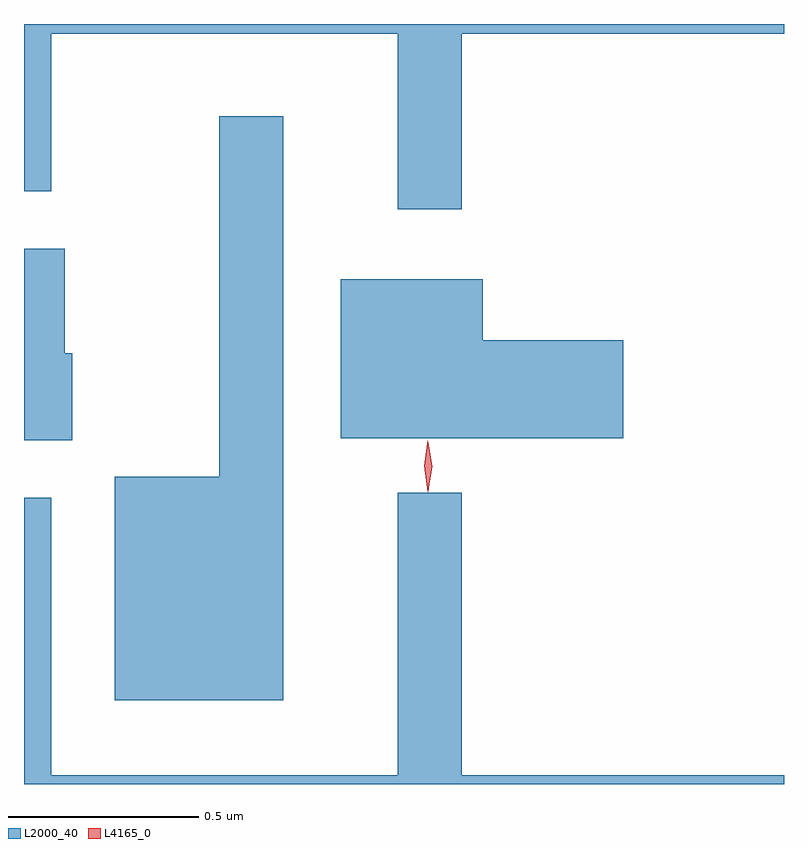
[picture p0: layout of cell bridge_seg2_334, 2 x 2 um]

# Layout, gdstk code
import gdstk
lib = gdstk.Library(unit=1e-6, precision=1e-09)
def P(c, l, *ps):  # polygons
    for p in ps: c.add(gdstk.Polygon(p, *l))
L2000_40 = (2000, 40)
L4165_0 = (4165, 0)

bridge_seg2_334 = lib.new_cell('bridge_seg2_334')
P(bridge_seg2_334, L2000_40, [(444.469,1081.616),(445.317,1081.616),(445.317,1081.641),(443.317,1081.641),(443.317,1081.201),(443.389,1081.201),(443.389,1081.616),(444.301,1081.616),(444.301,1081.153),(444.469,1081.153)],
  [(443.999,1081.398),(443.831,1081.398),(443.831,1080.449),(443.556,1080.449),(443.556,1079.861),(443.999,1079.861)],
  [(443.444,1080.774),(443.424,1080.774),(443.424,1081.049),(443.317,1081.049),(443.317,1080.546),(443.444,1080.546)],
  [(444.894,1080.809),(444.524,1080.809),(444.524,1080.969),(444.151,1080.969),(444.151,1080.551),(444.894,1080.551)],
  [(445.317,1079.664),(444.469,1079.664),(444.469,1080.408),(444.301,1080.408),(444.301,1079.664),(443.389,1079.664),(443.389,1080.394),(443.317,1080.394),(443.317,1079.641),(445.317,1079.641)])
P(bridge_seg2_334, L4165_0, [(444.381,1080.413),(444.38,1080.414),(444.371,1080.476),(444.38,1080.54),(444.38,1080.54),(444.381,1080.54),(444.391,1080.476),(444.381,1080.414)],
  [(444.38,1080.41),(444.37,1080.478),(444.379,1080.545),(444.38,1080.546),(444.38,1080.545),(444.39,1080.478),(444.381,1080.41),(444.381,1080.41)])

lib.write_gds('bridge_seg2_334.gds')
